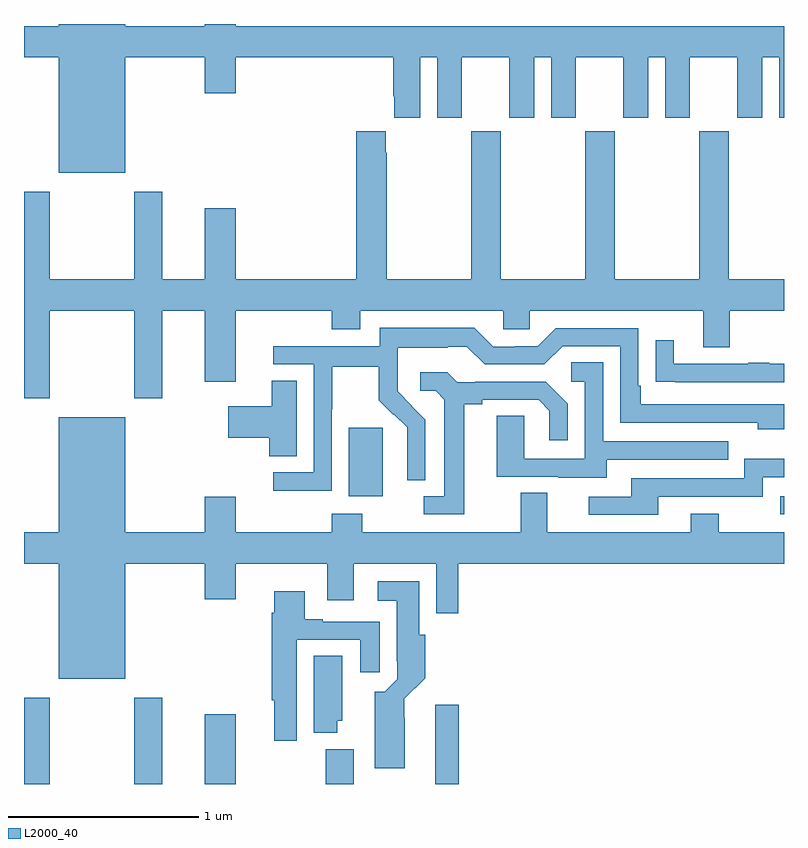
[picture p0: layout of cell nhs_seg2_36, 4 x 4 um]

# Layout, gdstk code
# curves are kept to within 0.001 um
import gdstk
lib = gdstk.Library(unit=1e-6, precision=1e-09)
def R(c, l, rs):  # rectangles x0, y0, x1, y1
    for r in rs: c.add(gdstk.rectangle(r[:2], r[2:], *l))
def P(c, l, *ps):  # polygons
    for p in ps: c.add(gdstk.Polygon(p, *l))
L2000_40 = (2000, 40)

nhs_seg2_36 = lib.new_cell('nhs_seg2_36')
R(nhs_seg2_36, L2000_40, [(111,655.8,111.135,656.254), (111.58,655.8,111.727,656.254), (111.95,655.8,112.114,656.167), (112.588,655.8,112.735,655.984), (113.165,655.8,113.288,656.218), (114.981,657.219,115,657.315), (112.709,657.314,112.888,657.675)])
P(nhs_seg2_36, L2000_40, [(111.532,659.624),(111.95,659.624),(111.95,659.436),(112.114,659.436),(112.114,659.624),(112.943,659.624),(112.943,659.419),(112.949,659.419),(112.949,659.307),(113.086,659.307),(113.086,659.624),(113.174,659.624),(113.174,659.307),(113.305,659.307),(113.305,659.624),(113.555,659.624),(113.555,659.307),(113.686,659.307),(113.686,659.624),(113.774,659.624),(113.774,659.307),(113.905,659.307),(113.905,659.624),(114.155,659.624),(114.155,659.307),(114.286,659.307),(114.286,659.624),(114.374,659.624),(114.374,659.307),(114.505,659.307),(114.505,659.624),(114.755,659.624),(114.755,659.307),(114.886,659.307),(114.886,659.624),(114.974,659.624),(114.974,659.307),(115,659.307),(115,659.788),(112.114,659.788),(112.114,659.8),(111.95,659.8),(111.95,659.788),(111.532,659.788),(111.532,659.8),(111.182,659.8),(111.182,659.788),(111,659.788),(111,659.624),(111.182,659.624),(111.182,659.018),(111.532,659.018)],
  [(111.135,658.292),(111.58,658.292),(111.58,657.831),(111.727,657.831),(111.727,658.292),(111.95,658.292),(111.95,657.918),(112.114,657.918),(112.114,658.292),(112.619,658.292),(112.619,658.193),(112.771,658.193),(112.771,658.292),(113.523,658.292),(113.523,658.194),(113.661,658.194),(113.661,658.292),(114.575,658.292),(114.575,658.098),(114.715,658.098),(114.715,658.292),(115,658.292),(115,658.456),(114.708,658.456),(114.708,659.236),(114.553,659.236),(114.553,658.456),(114.108,658.456),(114.108,659.236),(113.953,659.236),(113.953,658.456),(113.508,658.456),(113.508,659.236),(113.353,659.236),(113.353,658.456),(112.908,658.456),(112.908,659.123),(112.903,659.123),(112.903,659.236),(112.748,659.236),(112.748,658.456),(112.114,658.456),(112.114,658.831),(111.95,658.831),(111.95,658.456),(111.727,658.456),(111.727,658.918),(111.58,658.918),(111.58,658.456),(111.135,658.456),(111.135,658.918),(111,658.918),(111,657.831),(111.135,657.831)],
  [(112.62,657.772),(112.623,657.772),(112.623,657.996),(112.867,657.996),(112.867,657.821),(112.944,657.744),(112.947,657.747),(113.018,657.677),(113.018,657.554),(113.016,657.554),(113.016,657.4),(113.112,657.4),(113.112,657.718),(112.966,657.866),(112.966,657.963),(112.968,657.963),(112.968,658.097),(113.231,658.097),(113.231,658.101),(113.331,658.101),(113.424,658.008),(113.739,658.008),(113.835,658.104),(114.138,658.104),(114.138,657.702),(114.863,657.702),(114.863,657.668),(115,657.668),(115,657.798),(114.247,657.798),(114.247,657.895),(114.234,657.895),(114.234,658.2),(113.799,658.2),(113.703,658.104),(113.585,658.104),(113.585,658.101),(113.469,658.101),(113.369,658.201),(112.872,658.201),(112.872,658.104),(112.311,658.104),(112.311,658.008),(112.524,658.008),(112.524,657.441),(112.311,657.441),(112.311,657.343),(112.62,657.343)],
  [(115,658.011),(114.923,658.011),(114.923,658.016),(114.811,658.016),(114.811,658.011),(114.421,658.011),(114.421,658.135),(114.325,658.135),(114.325,657.916),(114.427,657.916),(114.427,657.915),(115,657.915)],
  [(114.067,657.507),(114.707,657.507),(114.707,657.603),(114.048,657.603),(114.048,658.019),(113.88,658.019),(113.88,657.918),(113.952,657.918),(113.952,657.513),(113.634,657.513),(113.634,657.737),(113.489,657.737),(113.489,657.417),(113.813,657.417),(113.813,657.413),(114.067,657.413)],
  [(113.317,657.8),(113.413,657.8),(113.413,657.822),(113.708,657.822),(113.765,657.765),(113.765,657.609),(113.862,657.609),(113.862,657.802),(113.746,657.918),(113.374,657.918),(113.374,657.915),(113.28,657.915),(113.228,657.967),(113.085,657.967),(113.085,657.87),(113.166,657.87),(113.213,657.823),(113.213,657.315),(113.103,657.315),(113.103,657.219),(113.317,657.219)],
  [(112.435,657.923),(112.304,657.923),(112.304,657.787),(112.074,657.787),(112.074,657.622),(112.292,657.622),(112.292,657.526),(112.435,657.526)],
  [(111.532,656.96),(111.95,656.96),(111.95,656.772),(112.114,656.772),(112.114,656.96),(112.595,656.96),(112.595,656.766),(112.735,656.766),(112.735,656.96),(113.169,656.96),(113.169,656.7),(113.285,656.7),(113.285,656.96),(115,656.96),(115,657.124),(114.657,657.124),(114.657,657.223),(114.509,657.223),(114.509,657.124),(113.755,657.124),(113.755,657.332),(113.615,657.332),(113.615,657.124),(112.779,657.124),(112.779,657.223),(112.619,657.223),(112.619,657.124),(112.114,657.124),(112.114,657.313),(111.95,657.313),(111.95,657.124),(111.532,657.124),(111.532,657.73),(111.182,657.73),(111.182,657.124),(111,657.124),(111,656.96),(111.182,656.96),(111.182,656.354),(111.532,656.354)],
  [(114.337,657.312),(114.888,657.312),(114.888,657.414),(115,657.414),(115,657.511),(114.792,657.511),(114.792,657.408),(114.197,657.408),(114.197,657.312),(113.973,657.312),(113.973,657.216),(114.337,657.216)],
  [(113.005,656.15),(113.001,656.15),(113.001,656.248),(113.111,656.357),(113.111,656.586),(113.08,656.586),(113.08,656.866),(112.863,656.866),(112.863,656.765),(112.961,656.765),(112.961,656.446),(112.965,656.446),(112.965,656.352),(112.899,656.286),(112.847,656.286),(112.847,655.883),(113.005,655.883)],
  [(112.435,656.559),(112.769,656.559),(112.769,656.388),(112.873,656.388),(112.873,656.655),(112.573,656.655),(112.573,656.668),(112.477,656.668),(112.477,656.815),(112.316,656.815),(112.316,656.702),(112.304,656.702),(112.304,656.24),(112.316,656.24),(112.316,656.028),(112.435,656.028)],
  [(112.648,656.133),(112.675,656.133),(112.675,656.474),(112.526,656.474),(112.526,656.069),(112.648,656.069)])

lib.write_gds('nhs_seg2_36.gds')
